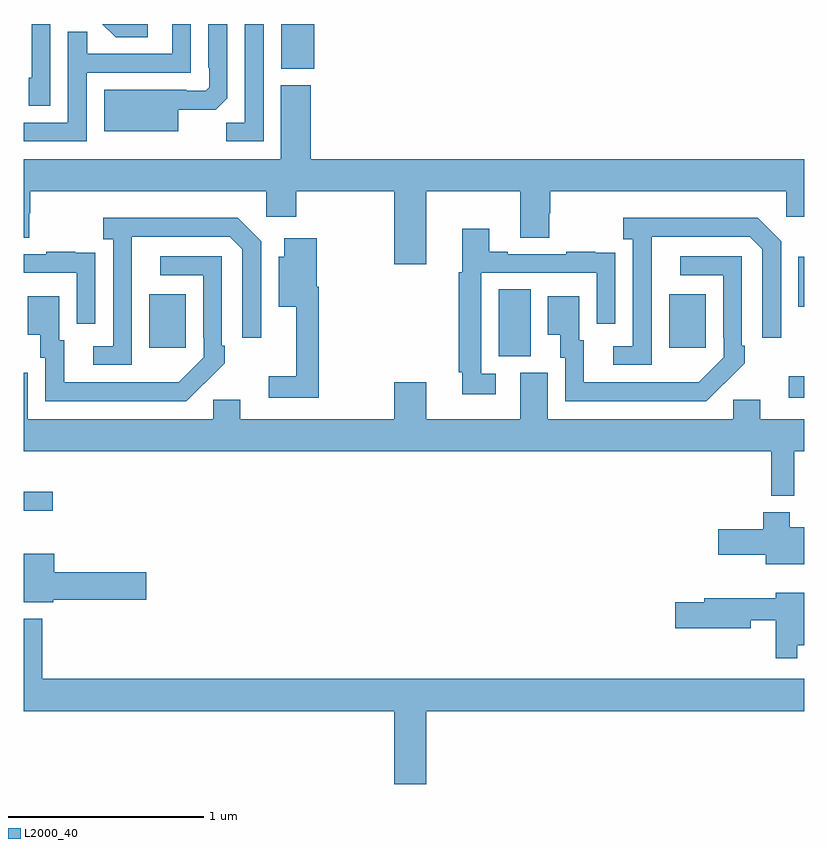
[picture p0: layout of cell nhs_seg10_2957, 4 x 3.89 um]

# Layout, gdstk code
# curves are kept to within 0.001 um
import gdstk
lib = gdstk.Library(unit=1e-6, precision=1e-09)
def R(c, l, rs):  # rectangles x0, y0, x1, y1
    for r in rs: c.add(gdstk.rectangle(r[:2], r[2:], *l))
def P(c, l, *ps):  # polygons
    for p in ps: c.add(gdstk.Polygon(p, *l))
L2000_40 = (2000, 40)

nhs_seg10_2957 = lib.new_cell('nhs_seg10_2957')
R(nhs_seg10_2957, L2000_40, [(271,1304.005,271.15,1304.103), (274.92,1304.586,275,1304.695), (273.434,1304.797,273.598,1305.14), (271.643,1304.841,271.831,1305.115), (274.307,1304.841,274.495,1305.115), (274.97,1305.05,275,1305.307), (272.321,1306.271,272.488,1306.5), (272.792,1306.499,273.181,1306.5)])
P(nhs_seg10_2957, L2000_40, [(272.229,1306.5),(272.133,1306.5),(272.133,1305.995),(272.038,1305.995),(272.038,1305.9),(272.229,1305.9)],
  [(271.137,1306.5),(271.041,1306.5),(271.041,1306.224),(271.026,1306.224),(271.026,1306.081),(271.137,1306.081)],
  [(271.323,1306.251),(271.857,1306.251),(271.857,1306.5),(271.761,1306.5),(271.761,1306.347),(271.325,1306.347),(271.325,1306.46),(271.227,1306.46),(271.227,1305.993),(271,1305.993),(271,1305.9),(271.323,1305.9)],
  [(271.792,1306.061),(271.984,1306.061),(272.043,1306.12),(272.043,1306.5),(271.947,1306.5),(271.947,1306.276),(271.95,1306.276),(271.95,1306.176),(271.932,1306.158),(271.832,1306.158),(271.832,1306.162),(271.412,1306.162),(271.412,1305.95),(271.792,1305.95)],
  [(271.636,1306.5),(271.403,1306.5),(271.471,1306.432),(271.636,1306.432)],
  [(273.064,1305.644),(273.545,1305.644),(273.545,1305.406),(273.693,1305.406),(273.693,1305.531),(273.698,1305.531),(273.698,1305.644),(274.908,1305.644),(274.908,1305.513),(275,1305.513),(275,1305.808),(272.471,1305.808),(272.471,1306.186),(272.318,1306.186),(272.318,1305.808),(271,1305.808),(271,1305.406),(271.029,1305.406),(271.029,1305.531),(271.034,1305.531),(271.034,1305.644),(272.244,1305.644),(272.244,1305.513),(272.396,1305.513),(272.396,1305.644),(272.9,1305.644),(272.9,1305.27),(273.064,1305.27)],
  [(274.218,1305.211),(274.219,1305.411),(274.719,1305.411),(274.785,1305.345),(274.785,1304.892),(274.881,1304.892),(274.881,1305.387),(274.76,1305.508),(274.071,1305.508),(274.071,1305.398),(274.122,1305.398),(274.122,1304.85),(274.02,1304.85),(274.02,1304.754),(274.218,1304.754)],
  [(271.554,1305.211),(271.555,1305.411),(272.055,1305.411),(272.121,1305.345),(272.121,1304.892),(272.217,1304.892),(272.217,1305.387),(272.096,1305.508),(271.407,1305.508),(271.407,1305.398),(271.458,1305.398),(271.458,1304.85),(271.356,1304.85),(271.356,1304.754),(271.554,1304.754)],
  [(273.418,1304.709),(273.345,1304.709),(273.345,1305.225),(273.936,1305.225),(273.936,1304.964),(274.032,1304.964),(274.032,1305.218),(274.031,1305.218),(274.031,1305.327),(273.929,1305.327),(273.929,1305.334),(273.781,1305.334),(273.781,1305.321),(273.481,1305.321),(273.481,1305.334),(273.385,1305.334),(273.385,1305.451),(273.248,1305.451),(273.248,1305.228),(273.229,1305.228),(273.229,1304.716),(273.248,1304.716),(273.248,1304.604),(273.418,1304.604)],
  [(272.513,1305.154),(272.502,1305.154),(272.502,1305.403),(272.336,1305.403),(272.336,1305.307),(272.306,1305.307),(272.306,1305.05),(272.396,1305.05),(272.396,1304.695),(272.256,1304.695),(272.256,1304.586),(272.513,1304.586)],
  [(271.368,1305.218),(271.367,1305.218),(271.367,1305.327),(271.265,1305.327),(271.265,1305.334),(271.117,1305.334),(271.117,1305.321),(271,1305.321),(271,1305.225),(271.272,1305.225),(271.272,1304.964),(271.368,1304.964)],
  [(271.925,1304.659),(271.926,1304.658),(272.031,1304.763),(272.031,1304.851),(272.016,1304.851),(272.016,1305.309),(271.701,1305.309),(271.701,1305.213),(271.92,1305.213),(271.92,1304.893),(271.923,1304.893),(271.923,1304.793),(271.795,1304.665),(271.207,1304.664),(271.207,1304.88),(271.183,1304.88),(271.183,1305.106),(271.022,1305.106),(271.022,1304.909),(271.085,1304.909),(271.085,1304.79),(271.11,1304.79),(271.11,1304.568),(271.834,1304.568)],
  [(274.589,1304.659),(274.59,1304.658),(274.695,1304.763),(274.695,1304.851),(274.68,1304.851),(274.68,1305.309),(274.365,1305.309),(274.365,1305.213),(274.584,1305.213),(274.584,1304.893),(274.587,1304.893),(274.587,1304.793),(274.459,1304.665),(273.871,1304.664),(273.871,1304.88),(273.847,1304.88),(273.847,1305.106),(273.686,1305.106),(273.686,1304.909),(273.749,1304.909),(273.749,1304.79),(273.774,1304.79),(273.774,1304.568),(274.498,1304.568)],
  [(274.949,1304.312),(275,1304.312),(275,1304.476),(274.774,1304.476),(274.774,1304.574),(274.635,1304.574),(274.635,1304.476),(273.685,1304.476),(273.685,1304.712),(273.545,1304.712),(273.545,1304.476),(273.064,1304.476),(273.064,1304.665),(272.9,1304.665),(272.9,1304.476),(272.11,1304.476),(272.11,1304.574),(271.971,1304.574),(271.971,1304.476),(271.021,1304.476),(271.021,1304.712),(271,1304.712),(271,1304.312),(274.831,1304.312),(274.831,1304.084),(274.949,1304.084)],
  [(275,1303.921),(274.924,1303.921),(274.924,1303.999),(274.79,1303.999),(274.79,1303.911),(274.56,1303.911),(274.56,1303.781),(274.802,1303.781),(274.802,1303.733),(275,1303.733)],
  [(271.152,1303.549),(271.627,1303.549),(271.627,1303.691),(271.156,1303.691),(271.156,1303.786),(271,1303.786),(271,1303.538),(271.152,1303.538)],
  [(274.963,1303.316),(275,1303.316),(275,1303.585),(274.853,1303.585),(274.853,1303.557),(274.487,1303.557),(274.487,1303.538),(274.338,1303.538),(274.338,1303.403),(274.726,1303.403),(274.726,1303.446),(274.854,1303.446),(274.854,1303.251),(274.963,1303.251)],
  [(273.064,1302.98),(275,1302.98),(275,1303.144),(271.094,1303.144),(271.094,1303.453),(271,1303.453),(271,1302.98),(272.9,1302.98),(272.9,1302.606),(273.064,1302.606)])

lib.write_gds('nhs_seg10_2957.gds')
